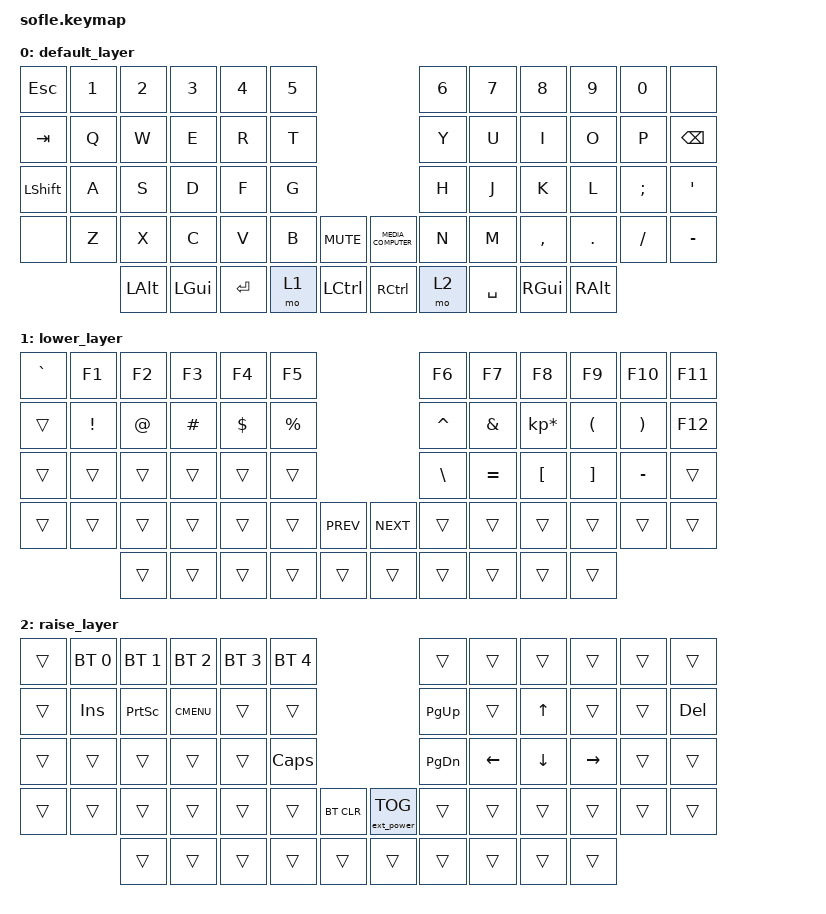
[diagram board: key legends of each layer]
/*
 * Copyright (c) 2020 The ZMK Contributors
 *
 * SPDX-License-Identifier: MIT
 */

#include <behaviors.dtsi>
#include <dt-bindings/zmk/bt.h>
#include <dt-bindings/zmk/ext_power.h>
#include <dt-bindings/zmk/keys.h>

/ {
    keymap {
        compatible = "zmk,keymap";

        default_layer {
            // ------------------------------------------------------------------------------------------------------------
            // |  `    |  1  |  2   |  3   |  4  |  5    |                         |  6    |  7  |  8   |  9   |   0   |   PLAP/PAUSE    |
            // |  ESC  |  Q  |  W   |  E   |  R  |  T    |                         |  Y    |  U  |  I   |  O   |   P   | BKSPC           |
            // |  TAB  |  A  |  S   |  D   |  F  |  G    |                         |  H    |  J  |  K   |  L   |   ;   |   '             |
            // | SHIFT |  Z  |  X   |  C   |  V  |  B    |  MUTE  |        | ExtPw |  N    |  M  |  ,   |  .   |   /   | SHIFT           |
            //               | CTRL | ALT  | GUI | SPACE |  LOWER |        | RAISE | ENTER | GUI | ALT  | CTRL |

            bindings = <
&kp ESC         &kp N1  &kp N2        &kp N3        &kp N4     &kp N5                                            &kp N6  &kp N7     &kp N8         &kp N9         &kp N0    &none
&kp TAB         &kp Q   &kp W         &kp E         &kp R      &kp T                                             &kp Y   &kp U      &kp I          &kp O          &kp P     &kp BSPC
&kp LEFT_SHIFT  &kp A   &kp S         &kp D         &kp F      &kp G                                             &kp H   &kp J      &kp K          &kp L          &kp SEMI  &kp SQT
&none           &kp Z   &kp X         &kp C         &kp V      &kp B   &kp C_MUTE          &kp C_MEDIA_COMPUTER  &kp N   &kp M      &kp COMMA      &kp DOT        &kp FSLH  &kp MINUS
                        &kp LEFT_ALT  &kp LEFT_GUI  &kp ENTER  &mo 1   &kp LEFT_CONTROL    &kp RIGHT_CONTROL     &mo 2   &kp SPACE  &kp RIGHT_GUI  &kp RIGHT_ALT
            >;
        };

        lower_layer {
            // TODO: Some binds are waiting for shifted keycode support.
            // ------------------------------------------------------------------------------------------------------------
            // |       |  F1 |  F2 |  F3  |  F4  |  F5  |                   |  F6  |  F7   |  F8   |  F9  |  F10  |  F11  |
            // | `     |   1 |   2 |   3  |   4  |   5  |                   |   6  |   7   |   8   |   9  |    0  |  F12  |
            // |       |  !  |  @  |  #   |  $   |  %   |                   |  ^   |  &    |  *    |  (   |   )   |   |   |
            // |       |  =  |  -  |  +   |  {   |  }   |        |  |       |  [   |  ]    |  ;    |  :   |   \   |       |
            //               |     |      |      |      |        |  |       |      |       |       |      |

            bindings = <
&kp GRAVE  &kp F1    &kp F2  &kp F3     &kp F4      &kp F5                                 &kp F6         &kp F7         &kp F8            &kp F9                &kp F10                &kp F11
&trans     &kp EXCL  &kp AT  &kp POUND  &kp DOLLAR  &kp PERCENT                            &kp CARET      &kp AMPERSAND  &kp KP_ASTERISK   &kp LEFT_PARENTHESIS  &kp RIGHT_PARENTHESIS  &kp F12
&trans     &trans    &trans  &trans     &trans      &trans                                 &kp BACKSLASH  &kp EQUAL      &kp LEFT_BRACKET  &kp RIGHT_BRACKET     &kp MINUS              &trans
&trans     &trans    &trans  &trans     &trans      &trans       &kp C_PREV    &kp C_NEXT  &trans         &trans         &trans            &trans                &trans                 &trans
                     &trans  &trans     &trans      &trans       &trans        &trans      &trans         &trans         &trans            &trans
            >;
        };

        raise_layer {
            // ------------------------------------------------------------------------------------------------------------
            // |BTCLR| BT1  | BT2  |  BT3  |  BT4  |  BT5 |                |      |      |       |      |       |       |
            // |     | INS  | PSCR | GUI   |       |      |                | PGUP |      |   ^   |      |       |       |
            // |     | ALT  | CTRL | SHIFT |       | CAPS |                | PGDN |   <- |   v   |  ->  |  DEL  | BKSPC |
            // |     | UNDO | CUT  | COPY  | PASTE |      |      |  |      |      |      |       |      |       |       |
            //              |      |       |       |      |      |  |      |      |      |       |      |

            bindings = <
&trans  &bt BT_SEL 0  &bt BT_SEL 1  &bt BT_SEL 2  &bt BT_SEL 3  &bt BT_SEL 4                                   &trans     &trans    &trans    &trans     &trans  &trans
&trans  &kp INS       &kp PSCRN     &kp K_CMENU   &trans        &trans                                         &kp PG_UP  &trans    &kp UP    &trans     &trans  &kp DELETE
&trans  &trans        &trans        &trans        &trans        &kp CLCK                                       &kp PG_DN  &kp LEFT  &kp DOWN  &kp RIGHT  &trans  &trans
&trans  &trans        &trans        &trans        &trans        &trans        &bt BT_CLR    &ext_power EP_TOG  &trans     &trans    &trans    &trans     &trans  &trans
                      &trans        &trans        &trans        &trans        &trans        &trans             &trans     &trans    &trans    &trans
            >;
        };
    };
};
